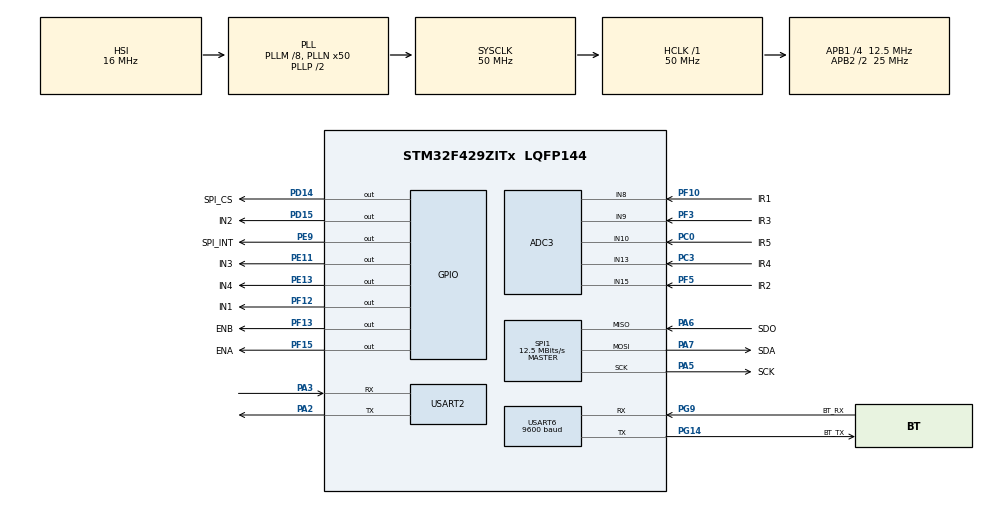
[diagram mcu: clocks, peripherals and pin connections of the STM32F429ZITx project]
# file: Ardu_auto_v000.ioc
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ADC3.Channel-1\#ChannelRegularConversion=ADC_CHANNEL_8
ADC3.Channel-2\#ChannelRegularConversion=ADC_CHANNEL_15
ADC3.Channel-3\#ChannelRegularConversion=ADC_CHANNEL_9
ADC3.Channel-4\#ChannelRegularConversion=ADC_CHANNEL_13
ADC3.Channel-5\#ChannelRegularConversion=ADC_CHANNEL_10
ADC3.ContinuousConvMode=DISABLE
ADC3.NbrOfConversion=5
ADC3.NbrOfConversionFlag=1
ADC3.Rank-1\#ChannelRegularConversion=1
ADC3.Rank-2\#ChannelRegularConversion=2
ADC3.Rank-3\#ChannelRegularConversion=3
ADC3.Rank-4\#ChannelRegularConversion=4
ADC3.Rank-5\#ChannelRegularConversion=5
ADC3.SamplingTime-1\#ChannelRegularConversion=ADC_SAMPLETIME_3CYCLES
ADC3.SamplingTime-2\#ChannelRegularConversion=ADC_SAMPLETIME_3CYCLES
ADC3.SamplingTime-3\#ChannelRegularConversion=ADC_SAMPLETIME_3CYCLES
ADC3.SamplingTime-4\#ChannelRegularConversion=ADC_SAMPLETIME_3CYCLES
ADC3.SamplingTime-5\#ChannelRegularConversion=ADC_SAMPLETIME_3CYCLES
ADC3.ScanConvMode=ENABLE
Dma.ADC3.0.Direction=DMA_PERIPH_TO_MEMORY
Dma.ADC3.0.FIFOMode=DMA_FIFOMODE_DISABLE
Dma.ADC3.0.Instance=DMA2_Stream0
Dma.ADC3.0.MemDataAlignment=DMA_MDATAALIGN_WORD
Dma.ADC3.0.MemInc=DMA_MINC_ENABLE
Dma.ADC3.0.Mode=DMA_CIRCULAR
Dma.ADC3.0.PeriphDataAlignment=DMA_PDATAALIGN_WORD
Dma.ADC3.0.PeriphInc=DMA_PINC_DISABLE
Dma.ADC3.0.Priority=DMA_PRIORITY_LOW
Dma.Request0=ADC3
Mcu.Family=STM32F4
Mcu.Name=STM32F429ZITx
Mcu.Package=LQFP144
NVIC.DMA2_Stream0_IRQn=true\:0\:0\:false\:false\:true\:false\:true\:true
NVIC.PriorityGroup=NVIC_PRIORITYGROUP_4
NVIC.USART6_IRQn=true\:0\:0\:false\:false\:true\:true\:true\:true
PA13.Mode=Trace_Asynchronous_SW
PA13.Signal=SYS_JTMS-SWDIO
PA14.Mode=Trace_Asynchronous_SW
PA14.Signal=SYS_JTCK-SWCLK
PA2.Mode=Asynchronous
PA2.Signal=USART2_TX
PA3.Mode=Asynchronous
PA3.Signal=USART2_RX
PA5.GPIO_Label=SCK
PA5.Mode=Full_Duplex_Master
PA5.Signal=SPI1_SCK
PA6.GPIO_Label=SDO
PA6.Mode=Full_Duplex_Master
PA6.Signal=SPI1_MISO
PA7.GPIO_Label=SDA
PA7.Mode=Full_Duplex_Master
PA7.Signal=SPI1_MOSI
PB3.Mode=Trace_Asynchronous_SW
PB3.Signal=SYS_JTDO-SWO
PB8.Signal=I2C1_SCL
PB9.Signal=I2C1_SDA
PC0.GPIO_Label=IR5
PC0.Signal=ADCx_IN10
PC3.GPIO_Label=IR4
PC3.Signal=ADCx_IN13
PD14.GPIO_Label=SPI_CS
PD14.GPIO_PuPd=GPIO_PULLDOWN
PD14.PinState=GPIO_PIN_SET
PD14.Signal=GPIO_Output
PD15.GPIO_Label=IN2
PD15.GPIO_ModeDefaultOutputPP=GPIO_MODE_OUTPUT_PP
PD15.GPIO_PuPd=GPIO_PULLDOWN
PD15.PinState=GPIO_PIN_SET
PD15.Signal=GPIO_Output
PE11.GPIO_Label=IN3
PE11.GPIO_PuPd=GPIO_PULLDOWN
PE11.PinState=GPIO_PIN_SET
PE11.Signal=GPIO_Output
PE13.GPIO_Label=IN4
PE13.GPIO_PuPd=GPIO_PULLDOWN
PE13.PinState=GPIO_PIN_SET
PE13.Signal=GPIO_Output
PE9.GPIO_Label=SPI_INT
PE9.GPIO_PuPd=GPIO_PULLDOWN
PE9.PinState=GPIO_PIN_SET
PE9.Signal=GPIO_Output
PF10.GPIO_Label=IR1
PF10.Mode=IN8
PF10.Signal=ADC3_IN8
PF12.GPIO_Label=IN1
PF12.GPIO_PuPd=GPIO_PULLDOWN
PF12.PinState=GPIO_PIN_SET
PF12.Signal=GPIO_Output
PF13.GPIO_Label=ENB
PF13.GPIO_PuPd=GPIO_PULLDOWN
PF13.Signal=GPIO_Output
PF15.GPIO_Label=ENA
PF15.GPIO_PuPd=GPIO_PULLDOWN
PF15.PinState=GPIO_PIN_SET
PF15.Signal=GPIO_Output
PF3.GPIO_Label=IR3
PF3.Mode=IN9
PF3.Signal=ADC3_IN9
PF5.GPIO_Label=IR2
PF5.Mode=IN15
PF5.Signal=ADC3_IN15
PG14.GPIO_Label=BT_TX
PG14.Mode=Asynchronous
PG14.Signal=USART6_TX
PG9.GPIO_Label=BT_RX
PG9.Mode=Asynchronous
PG9.Signal=USART6_RX
ProjectManager.HeapSize=0x200
ProjectManager.StackSize=0x400
ProjectManager.TargetToolchain=STM32CubeIDE
RCC.48MHZClocksFreq_Value=14285714.285714285
RCC.AHBFreq_Value=50000000
RCC.APB1CLKDivider=RCC_HCLK_DIV4
RCC.APB1Freq_Value=12500000
RCC.APB1TimFreq_Value=25000000
RCC.APB2CLKDivider=RCC_HCLK_DIV2
RCC.APB2Freq_Value=25000000
RCC.APB2TimFreq_Value=50000000
RCC.CortexFreq_Value=50000000
RCC.HCLKFreq_Value=50000000
RCC.HSE_VALUE=8000000
RCC.HSI_VALUE=16000000
RCC.LSE_VALUE=32768
RCC.PLLM=8
RCC.PLLMUL=RCC_PLL_MUL9
RCC.PLLN=50
RCC.PLLQ=7
RCC.PRESCALERUSB=RCC_USBCLKSOURCE_PLL_DIV1_5
RCC.SYSCLKFreq_VALUE=50000000
RCC.SYSCLKSource=RCC_SYSCLKSOURCE_PLLCLK
RCC.SYSCLKSourceVirtual=RCC_SYSCLKSOURCE_PLLCLK
RCC.USBFreq_Value=48000000
RCC.VCOOutputFreq_Value=100000000
SH.ADCx_IN10.0=ADC3_IN10,IN10
SH.ADCx_IN13.0=ADC3_IN13,IN13
SPI1.CalculateBaudRate=12.5 MBits/s
SPI1.Direction=SPI_DIRECTION_2LINES
SPI1.Mode=SPI_MODE_MASTER
SPI1.VirtualType=VM_MASTER
USART2.VirtualMode=VM_ASYNC
USART6.BaudRate=9600
USART6.VirtualMode=VM_ASYNC
board=NUCLEO-F429ZI

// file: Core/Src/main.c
/* USER CODE BEGIN Header */
/**
  ******************************************************************************
  * @file           : main.c
  * @brief          : Main program body
  ******************************************************************************
  * @attention
  *
  * Copyright (c) 2022 STMicroelectronics.
  * All rights reserved.
  *
  * This software is licensed under terms that can be found in the LICENSE file
  * in the root directory of this software component.
  * If no LICENSE file comes with this software, it is provided AS-IS.
  *
  ******************************************************************************
  */
/* USER CODE END Header */
#include "main.h"

/* USER CODE BEGIN Includes */
#include <stdio.h>
#include <stdlib.h>
#include <L3G4200D.h>
#include <string.h>
#include "cmd.h"
#include "motor_control.h"
#include "bt_control.h"
#include "self_driving.h"
#include <stdbool.h>

/* USER CODE END Includes */

/* USER CODE BEGIN PD */
#define PRINT_FREQ 3
/* USER CODE END PD */

 ADC_HandleTypeDef hadc3;
DMA_HandleTypeDef hdma_adc3;

SPI_HandleTypeDef hspi1;

UART_HandleTypeDef huart2;
UART_HandleTypeDef huart6;

/* USER CODE BEGIN PV */
L3G4200D_output Get_gyro_values(void);
/* USER CODE END PV */

void SystemClock_Config(void);
static void MX_GPIO_Init(void);
static void MX_USART2_UART_Init(void);
static void MX_DMA_Init(void);
static void MX_USART6_UART_Init(void);
static void MX_ADC3_Init(void);
static void MX_SPI1_Init(void);
/* USER CODE BEGIN PFP */

//For printing debug data into monitoring
int __io_putchar(int ch)
{
	ITM_SendChar(ch);
	return(ch);
}

/* USER CODE END PFP */

int main(void)
{
  /* USER CODE BEGIN 1 */

  uint32_t IR_data[5];
  //L3G4200D_output gyro_data;
  Cmd_holder cmd_holder = (Cmd_holder)malloc(sizeof(uint8_t) * 4);
  uint8_t bt_msg;
  int print_iterator = 0;

  cmd_holder->new_cmd = CMD_NONE;
  cmd_holder->old_cmd = CMD_NONE;
  cmd_holder->moving = STOPPED;
  cmd_holder->mode = MODE_MANUAL;
  /* USER CODE END 1 */

  /* MCU Configuration--------------------------------------------------------*/

  /* Reset of all peripherals, Initializes the Flash interface and the Systick. */
  HAL_Init();

  /* Configure the system clock */
  SystemClock_Config();

  /* Initialize all configured peripherals */
  MX_GPIO_Init();
  MX_USART2_UART_Init();
  MX_DMA_Init();
  MX_USART6_UART_Init();
  MX_ADC3_Init();
  MX_SPI1_Init();
  /* USER CODE BEGIN 2 */

  //SPI TX off
  HAL_GPIO_WritePin(GPIOF, SPI_CS_Pin, GPIO_PIN_SET);
  /* USER CODE END 2 */

  /* Infinite loop */
  while (1)
  {

    /* USER CODE BEGIN 3 */
	  /*IR ADC
	   * HAL ADC3 DMA values
	   * IR_data[0] = IR1 ... IR_data[4] = IR5
	   * IR_data[n] = 4095 -> distance > 10 cm
	   * IR_data[n] = 100-300 -> distance < 10 cm
	   * */

	  HAL_ADC_Start_DMA(&hadc3, IR_data, 5);
	  bt_msg = get_bt_msg();
	  handle_bt_msg(bt_msg, cmd_holder);

	  if(cmd_holder->mode == MODE_SELF_DRIVE){
	      self_driving(cmd_holder, IR_data);
	  }
	  handle_driving(cmd_holder);

	  if(print_iterator >= PRINT_FREQ){
	      print_driving_state(cmd_holder);
	      print_iterator = 0;
	  }
	  print_iterator++;
	  /*GY-50
	   * HAL SPI 1 Bus
	   * Addresses in L3G4200D.h library
	   * */

	  //gyro_data = Get_gyro_values();
	  //printf("%d %d %d \r\n", gyro_data.x, gyro_data.y, gyro_data.z);

	  // Delay for readability
	  //HAL_Delay(1000);
  }
  /* USER CODE END 3 */
}

void SystemClock_Config(void)
{
  RCC_OscInitTypeDef RCC_OscInitStruct = {0};
  RCC_ClkInitTypeDef RCC_ClkInitStruct = {0};

  /** Configure the main internal regulator output voltage
  */
  __HAL_RCC_PWR_CLK_ENABLE();
  __HAL_PWR_VOLTAGESCALING_CONFIG(PWR_REGULATOR_VOLTAGE_SCALE3);

  /** Initializes the RCC Oscillators according to the specified parameters
  * in the RCC_OscInitTypeDef structure.
  */
  RCC_OscInitStruct.OscillatorType = RCC_OSCILLATORTYPE_HSI;
  RCC_OscInitStruct.HSIState = RCC_HSI_ON;
  RCC_OscInitStruct.HSICalibrationValue = RCC_HSICALIBRATION_DEFAULT;
  RCC_OscInitStruct.PLL.PLLState = RCC_PLL_ON;
  RCC_OscInitStruct.PLL.PLLSource = RCC_PLLSOURCE_HSI;
  RCC_OscInitStruct.PLL.PLLM = 8;
  RCC_OscInitStruct.PLL.PLLN = 50;
  RCC_OscInitStruct.PLL.PLLP = RCC_PLLP_DIV2;
  RCC_OscInitStruct.PLL.PLLQ = 7;
  if (HAL_RCC_OscConfig(&RCC_OscInitStruct) != HAL_OK)
  {
    Error_Handler();
  }

  /** Initializes the CPU, AHB and APB buses clocks
  */
  RCC_ClkInitStruct.ClockType = RCC_CLOCKTYPE_HCLK|RCC_CLOCKTYPE_SYSCLK
                              |RCC_CLOCKTYPE_PCLK1|RCC_CLOCKTYPE_PCLK2;
  RCC_ClkInitStruct.SYSCLKSource = RCC_SYSCLKSOURCE_PLLCLK;
  RCC_ClkInitStruct.AHBCLKDivider = RCC_SYSCLK_DIV1;
  RCC_ClkInitStruct.APB1CLKDivider = RCC_HCLK_DIV4;
  RCC_ClkInitStruct.APB2CLKDivider = RCC_HCLK_DIV2;

  if (HAL_RCC_ClockConfig(&RCC_ClkInitStruct, FLASH_LATENCY_1) != HAL_OK)
  {
    Error_Handler();
  }
}

static void MX_ADC3_Init(void)
{

  ADC_ChannelConfTypeDef sConfig = {0};

  /** Configure the global features of the ADC (Clock, Resolution, Data Alignment and number of conversion)
  */
  hadc3.Instance = ADC3;
  hadc3.Init.ClockPrescaler = ADC_CLOCK_SYNC_PCLK_DIV2;
  hadc3.Init.Resolution = ADC_RESOLUTION_12B;
  hadc3.Init.ScanConvMode = ENABLE;
  hadc3.Init.ContinuousConvMode = DISABLE;
  hadc3.Init.DiscontinuousConvMode = DISABLE;
  hadc3.Init.ExternalTrigConvEdge = ADC_EXTERNALTRIGCONVEDGE_NONE;
  hadc3.Init.ExternalTrigConv = ADC_SOFTWARE_START;
  hadc3.Init.DataAlign = ADC_DATAALIGN_RIGHT;
  hadc3.Init.NbrOfConversion = 5;
  hadc3.Init.DMAContinuousRequests = DISABLE;
  hadc3.Init.EOCSelection = ADC_EOC_SINGLE_CONV;
  if (HAL_ADC_Init(&hadc3) != HAL_OK)
  {
    Error_Handler();
  }

  /** Configure for the selected ADC regular channel its corresponding rank in the sequencer and its sample time.
  */
  sConfig.Channel = ADC_CHANNEL_8;
  sConfig.Rank = 1;
  sConfig.SamplingTime = ADC_SAMPLETIME_3CYCLES;
  if (HAL_ADC_ConfigChannel(&hadc3, &sConfig) != HAL_OK)
  {
    Error_Handler();
  }

  /** Configure for the selected ADC regular channel its corresponding rank in the sequencer and its sample time.
  */
  sConfig.Channel = ADC_CHANNEL_15;
  sConfig.Rank = 2;
  if (HAL_ADC_ConfigChannel(&hadc3, &sConfig) != HAL_OK)
  {
    Error_Handler();
  }

  /** Configure for the selected ADC regular channel its corresponding rank in the sequencer and its sample time.
  */
  sConfig.Channel = ADC_CHANNEL_9;
  sConfig.Rank = 3;
  if (HAL_ADC_ConfigChannel(&hadc3, &sConfig) != HAL_OK)
  {
    Error_Handler();
  }

  /** Configure for the selected ADC regular channel its corresponding rank in the sequencer and its sample time.
  */
  sConfig.Channel = ADC_CHANNEL_13;
  sConfig.Rank = 4;
  if (HAL_ADC_ConfigChannel(&hadc3, &sConfig) != HAL_OK)
  {
    Error_Handler();
  }

  /** Configure for the selected ADC regular channel its corresponding rank in the sequencer and its sample time.
  */
  sConfig.Channel = ADC_CHANNEL_10;
  sConfig.Rank = 5;
  if (HAL_ADC_ConfigChannel(&hadc3, &sConfig) != HAL_OK)
  {
    Error_Handler();
  }

}

static void MX_SPI1_Init(void)
{

  /* SPI1 parameter configuration*/
  hspi1.Instance = SPI1;
  hspi1.Init.Mode = SPI_MODE_MASTER;
  hspi1.Init.Direction = SPI_DIRECTION_2LINES;
  hspi1.Init.DataSize = SPI_DATASIZE_8BIT;
  hspi1.Init.CLKPolarity = SPI_POLARITY_LOW;
  hspi1.Init.CLKPhase = SPI_PHASE_1EDGE;
  hspi1.Init.NSS = SPI_NSS_SOFT;
  hspi1.Init.BaudRatePrescaler = SPI_BAUDRATEPRESCALER_2;
  hspi1.Init.FirstBit = SPI_FIRSTBIT_MSB;
  hspi1.Init.TIMode = SPI_TIMODE_DISABLE;
  hspi1.Init.CRCCalculation = SPI_CRCCALCULATION_DISABLE;
  hspi1.Init.CRCPolynomial = 10;
  if (HAL_SPI_Init(&hspi1) != HAL_OK)
  {
    Error_Handler();
  }
  /* USER CODE BEGIN SPI1_Init 2 */
  gyroInit();
  /* USER CODE END SPI1_Init 2 */

}

static void MX_USART2_UART_Init(void)
{

  huart2.Instance = USART2;
  huart2.Init.BaudRate = 115200;
  huart2.Init.WordLength = UART_WORDLENGTH_8B;
  huart2.Init.StopBits = UART_STOPBITS_1;
  huart2.Init.Parity = UART_PARITY_NONE;
  huart2.Init.Mode = UART_MODE_TX_RX;
  huart2.Init.HwFlowCtl = UART_HWCONTROL_NONE;
  huart2.Init.OverSampling = UART_OVERSAMPLING_16;
  if (HAL_UART_Init(&huart2) != HAL_OK)
  {
    Error_Handler();
  }

}

static void MX_USART6_UART_Init(void)
{

  huart6.Instance = USART6;
  huart6.Init.BaudRate = 9600;
  huart6.Init.WordLength = UART_WORDLENGTH_8B;
  huart6.Init.StopBits = UART_STOPBITS_1;
  huart6.Init.Parity = UART_PARITY_NONE;
  huart6.Init.Mode = UART_MODE_TX_RX;
  huart6.Init.HwFlowCtl = UART_HWCONTROL_NONE;
  huart6.Init.OverSampling = UART_OVERSAMPLING_16;
  if (HAL_UART_Init(&huart6) != HAL_OK)
  {
    Error_Handler();
  }

}

static void MX_DMA_Init(void)
{

  /* DMA controller clock enable */
  __HAL_RCC_DMA2_CLK_ENABLE();

  /* DMA interrupt init */
  /* DMA2_Stream0_IRQn interrupt configuration */
  HAL_NVIC_SetPriority(DMA2_Stream0_IRQn, 0, 0);
  HAL_NVIC_EnableIRQ(DMA2_Stream0_IRQn);

}

static void MX_GPIO_Init(void)
{
  GPIO_InitTypeDef GPIO_InitStruct = {0};

  /* GPIO Ports Clock Enable */
  __HAL_RCC_GPIOF_CLK_ENABLE();
  __HAL_RCC_GPIOC_CLK_ENABLE();
  __HAL_RCC_GPIOA_CLK_ENABLE();
  __HAL_RCC_GPIOE_CLK_ENABLE();
  __HAL_RCC_GPIOD_CLK_ENABLE();
  __HAL_RCC_GPIOG_CLK_ENABLE();
  __HAL_RCC_GPIOB_CLK_ENABLE();

  /*Configure GPIO pin Output Level */
  HAL_GPIO_WritePin(GPIOF, IN1_Pin|ENA_Pin, GPIO_PIN_SET);

  /*Configure GPIO pin Output Level */
  HAL_GPIO_WritePin(ENB_GPIO_Port, ENB_Pin, GPIO_PIN_RESET);

  /*Configure GPIO pin Output Level */
  HAL_GPIO_WritePin(GPIOE, SPI_INT_Pin|IN3_Pin|IN4_Pin, GPIO_PIN_SET);

  /*Configure GPIO pin Output Level */
  HAL_GPIO_WritePin(GPIOD, SPI_CS_Pin|IN2_Pin, GPIO_PIN_SET);

  /*Configure GPIO pins : IN1_Pin ENB_Pin ENA_Pin */
  GPIO_InitStruct.Pin = IN1_Pin|ENB_Pin|ENA_Pin;
  GPIO_InitStruct.Mode = GPIO_MODE_OUTPUT_PP;
  GPIO_InitStruct.Pull = GPIO_PULLDOWN;
  GPIO_InitStruct.Speed = GPIO_SPEED_FREQ_LOW;
  HAL_GPIO_Init(GPIOF, &GPIO_InitStruct);

  /*Configure GPIO pins : SPI_INT_Pin IN3_Pin IN4_Pin */
  GPIO_InitStruct.Pin = SPI_INT_Pin|IN3_Pin|IN4_Pin;
  GPIO_InitStruct.Mode = GPIO_MODE_OUTPUT_PP;
  GPIO_InitStruct.Pull = GPIO_PULLDOWN;
  GPIO_InitStruct.Speed = GPIO_SPEED_FREQ_LOW;
  HAL_GPIO_Init(GPIOE, &GPIO_InitStruct);

  /*Configure GPIO pins : SPI_CS_Pin IN2_Pin */
  GPIO_InitStruct.Pin = SPI_CS_Pin|IN2_Pin;
  GPIO_InitStruct.Mode = GPIO_MODE_OUTPUT_PP;
  GPIO_InitStruct.Pull = GPIO_PULLDOWN;
  GPIO_InitStruct.Speed = GPIO_SPEED_FREQ_LOW;
  HAL_GPIO_Init(GPIOD, &GPIO_InitStruct);

  /*Configure GPIO pins : PB8 PB9 */
  GPIO_InitStruct.Pin = GPIO_PIN_8|GPIO_PIN_9;
  GPIO_InitStruct.Mode = GPIO_MODE_AF_OD;
  GPIO_InitStruct.Pull = GPIO_NOPULL;
  GPIO_InitStruct.Speed = GPIO_SPEED_FREQ_VERY_HIGH;
  GPIO_InitStruct.Alternate = GPIO_AF4_I2C1;
  HAL_GPIO_Init(GPIOB, &GPIO_InitStruct);

}

/* USER CODE BEGIN 4 */
void SPIWrite(uint8_t address, uint8_t data)
{
  address |= 0x40;
  //SPI TX on
  HAL_GPIO_WritePin(GPIOD, SPI_CS_Pin, GPIO_PIN_RESET);
  //SPI address transmit
  HAL_SPI_Transmit(&hspi1, &address, sizeof(address), HAL_MAX_DELAY);
  //SPI data transmit
  HAL_SPI_Transmit(&hspi1, &data, sizeof(data), HAL_MAX_DELAY);
  //SPI TX off
  HAL_GPIO_WritePin(GPIOD, SPI_CS_Pin, GPIO_PIN_SET);
}

uint8_t SPIRead(uint8_t address)
{
  uint8_t data;
  address |= 0xA0;
  //SPI TX on
  HAL_GPIO_WritePin(GPIOD, SPI_CS_Pin, GPIO_PIN_RESET);
  //SPI address transmit
  HAL_SPI_Transmit(&hspi1, &address, sizeof(address), HAL_MAX_DELAY);
  //SPI data receive
  HAL_SPI_Receive(&hspi1, &data, sizeof(data), HAL_MAX_DELAY);
  //SPI TX off
  HAL_GPIO_WritePin(GPIOD, SPI_CS_Pin, GPIO_PIN_SET);
  return data;
}

uint8_t get_bt_msg() {
  uint8_t msg;
  HAL_UART_Receive(&huart6, &msg, sizeof(msg), 500);
  printf("%d\r\n", msg);
  return msg;
}

L3G4200D_output Get_gyro_values()
{
	uint8_t x_l,x_h,y_l,y_h,z_l,z_h;
	L3G4200D_output gyro_data;
//	x_l = SPIRead(L3G4200D_REG_OUT_X_L);
//	x_h = SPIRead(L3G4200D_REG_OUT_X_H);
//	y_l = SPIRead(L3G4200D_REG_OUT_Y_L);
//	y_h = SPIRead(L3G4200D_REG_OUT_Y_H);
//	z_l = SPIRead(L3G4200D_REG_OUT_Z_L);
//	z_h = SPIRead(L3G4200D_REG_OUT_Z_H);
//	gyro_data.x = (x_l & 0xFF) | ((x_h & 0xFF) << 8);
//	gyro_data.y = (y_l & 0xFF) | ((y_h & 0xFF) << 8);
//	gyro_data.z = (z_l & 0xFF) | ((z_h & 0xFF) << 8);
	x_l = SPIRead(ADXL345_REG_DATAX0);
	x_h = SPIRead(ADXL345_REG_DATAX1);
	y_l = SPIRead(ADXL345_REG_DATAY0);
	y_h = SPIRead(ADXL345_REG_DATAY1);
	z_l = SPIRead(ADXL345_REG_DATAZ0);
	z_h = SPIRead(ADXL345_REG_DATAZ1);
	gyro_data.x = x_l | (x_h << 8);
	gyro_data.y = y_l | (y_h << 8);
	gyro_data.z = z_l | (z_h << 8);

	return gyro_data;
}

void gyroInit()
{
  //uint8_t scale, status;
  //status = SPIRead(L3G4200D_REG_WHO_AM_I);
  /*printf("%d\r\n", status);
  // Enable x, y, z and turn off power down mode:
  SPIWrite(L3G4200D_REG_CTRL_REG1, 0x0f);
  // HPF
  SPIWrite(L3G4200D_REG_CTRL_REG2, 0);
  // Configure CTRL_REG3 to generate data ready interrupt on INT2
  // No interrupts used on INT1, if you'd like to configure INT1
  // or INT2 otherwise, consult the datasheet:
  SPIWrite(L3G4200D_REG_CTRL_REG3, 0);
  // CTRL_REG4 controls the full-scale range, among other things:
  scale = 2 & 0x03;
  SPIWrite(L3G4200D_REG_CTRL_REG4, scale << 4);
  // CTRL_REG5 controls high-pass filtering of outputs, use it
  // if you'd like:
  SPIWrite(L3G4200D_REG_CTRL_REG5, 0);*/
  SPIWrite(ADXL345_REG_DATA_FORMAT , 0x0B);
  SPIWrite(ADXL345_REG_POWER_CTL , 0);
  SPIWrite(ADXL345_REG_POWER_CTL , 8);
  uint8_t me;
  me = SPIRead(ADXL345_REG_DEVID);
  printf(" Device ID: %d\r\n", me);

}

/* USER CODE END 4 */

void Error_Handler(void)
{
  __disable_irq();
  while (1)
  {
  }
}
